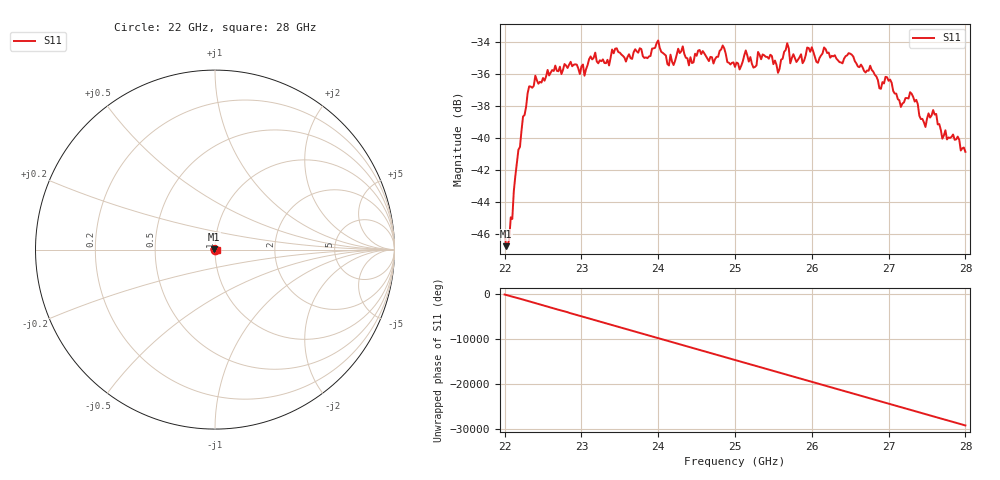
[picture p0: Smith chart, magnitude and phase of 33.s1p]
#  HZ  S  RI  R  50.00
! Rohde & Schwarz ZVA40 4Ports - Version 3.90 - 1145.1110k42 SN: 100403
! Date: 2023-10-04 10:34:48
! Measurement: S12
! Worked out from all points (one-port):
!   301 points, 22 GHz to 28 GHz, reference 50 ohm
!   lowest |S11| = -46.8 dB at 22.02 GHz (marker M1), VSWR 1.01, Z = 49.6 + j0.239 ohm
!   |S11| at or under -10 dB: start of sweep to end of sweep
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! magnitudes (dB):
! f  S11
! 22 GHz  -45.9
! 22.02 GHz  -46.8
! 22.1 GHz  -45.1
! 22.18 GHz  -40.7
! 22.32 GHz  -36.8
! 22.76 GHz  -35.7
! 23.5 GHz  -34.7
! 23.86 GHz  -35.0
! 24 GHz  -33.9
! 24.14 GHz  -35.5
! 24.26 GHz  -34.4
! 24.4 GHz  -35.5
! 24.84 GHz  -34.2
! 25 GHz  -35.6
! 25.14 GHz  -34.5
! 25.26 GHz  -35.6
! 25.3 GHz  -34.6
! 25.56 GHz  -35.9
! 25.68 GHz  -34.1
! 25.72 GHz  -35.3
! 25.76 GHz  -34.8
! 26.5 GHz  -34.7
! 26.88 GHz  -36.9
! 27.02 GHz  -36.4
! 27.16 GHz  -38.1
! 27.26 GHz  -37.5
! 27.48 GHz  -39.3
! 28 GHz  -40.9
